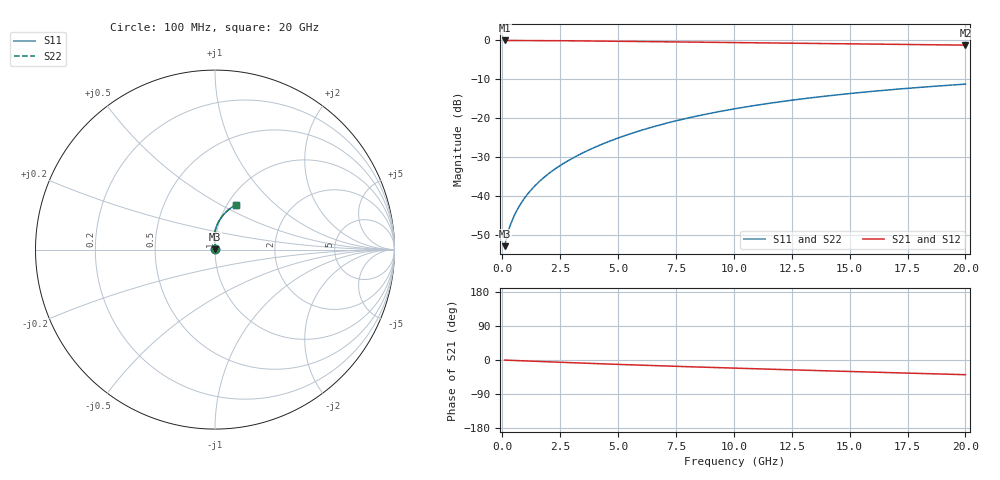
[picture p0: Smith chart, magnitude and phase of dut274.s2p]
! Touchstone file exported from HFSS 2024.1.0
!  File:  C:/UserFiles/LocalFiles/RDL_TSV_Batchsim/temp_RDL_bottom_274_1778702671.aedt
!  Generated:  04:07:02 AM May 14, 2026
!  Design:  RDL_bottom
!  Project:  temp_RDL_bottom_274_1778702671
!  Setup:  Setup1
!  Solution:  Sweep
! Variables:
!  dtsv = 10.80580581um
!  hbump = 3um
!  htsv = 89.55um
!  ldown = 592.1um
!  lrdl = 100um
!  p = 40
!  p1 = 50.9um
!  rhole = 1um
!  t = 450um
!  tdown = 4.08um
!  trdl = 3.915915916um
!  wdown = 29.97um
!  wrdl = 20um
# GHz S MA R 50.000000
! Terminal data exported
! Port[1] = RDL1_T1
! Port[2] = RDL1_T2
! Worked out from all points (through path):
!   200 points, 100 MHz to 20 GHz, reference 50 ohm
!   highest |S21| = -0.02 dB at 100 MHz (marker M1); lowest = -1.2 dB at 20 GHz (marker M2)
!   group delay of S21, straight-line fit = 5.29 ps
!   lowest |S11| = -52.7 dB at 100 MHz (marker M3), VSWR 1.00, Z = 50.2 + j0.12 ohm
!   |S11| at or under -10 dB: start of sweep to end of sweep
!   |S22| runs from -52.7 to -11.2 dB; largest |S21 - S12| = 3.2e-15
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0.1  0.002306 31.1  0.998 -0.3  0.998 -0.3  0.002306 31.1
! Gamma 0 0 0 0
! Port Impedance 50 0 50 0
0.2  0.003106 46.3  0.9978 -0.5  0.9978 -0.5  0.003106 46.3
0.3  0.003923 54.5  0.9976 -0.8  0.9976 -0.8  0.003923 54.5
0.4  0.00473 60.2  0.9974 -1.0  0.9974 -1.0  0.004729 60.2
0.5  0.005544 64.7  0.9972 -1.2  0.9972 -1.2  0.005544 64.7
0.8  0.008094 73.6  0.9966 -2.0  0.9966 -2.0  0.008093 73.6
1  0.009879 77.4  0.9962 -2.4  0.9962 -2.4  0.009878 77.4
1.2  0.01172 80.3  0.9957 -2.9  0.9957 -2.9  0.01172 80.3
1.7  0.01654 85.2  0.9941 -4.1  0.9941 -4.1  0.01654 85.2
2.2  0.02166 88.3  0.992 -5.3  0.992 -5.3  0.02166 88.3
2.8  0.02822 90.7  0.9889 -6.7  0.9889 -6.7  0.02823 90.7
3.5  0.03646 92.4  0.9847 -8.3  0.9847 -8.3  0.03646 92.4
4.2  0.04531 93.2  0.98 -9.9  0.98 -9.9  0.04531 93.2
5  0.05609 93.4  0.9743 -11.6  0.9743 -11.6  0.0561 93.4
5.9  0.06895 92.9  0.9674 -13.5  0.9674 -13.5  0.06895 92.9
6.8  0.08239 91.8  0.9605 -15.3  0.9605 -15.3  0.08239 91.8
8.4  0.1071 89.2  0.9483 -18.4  0.9483 -18.4  0.1072 89.2
10.1  0.1339 85.7  0.9357 -21.6  0.9357 -21.6  0.1339 85.7
11.7  0.1589 82.3  0.9243 -24.5  0.9243 -24.5  0.1589 82.3
13.4  0.1848 78.6  0.9126 -27.6  0.9126 -27.6  0.1848 78.6
16.7  0.2322 71.5  0.8908 -33.3  0.8908 -33.3  0.2322 71.6
20  0.2751 64.9  0.8699 -38.8  0.8699 -38.8  0.2752 64.9
